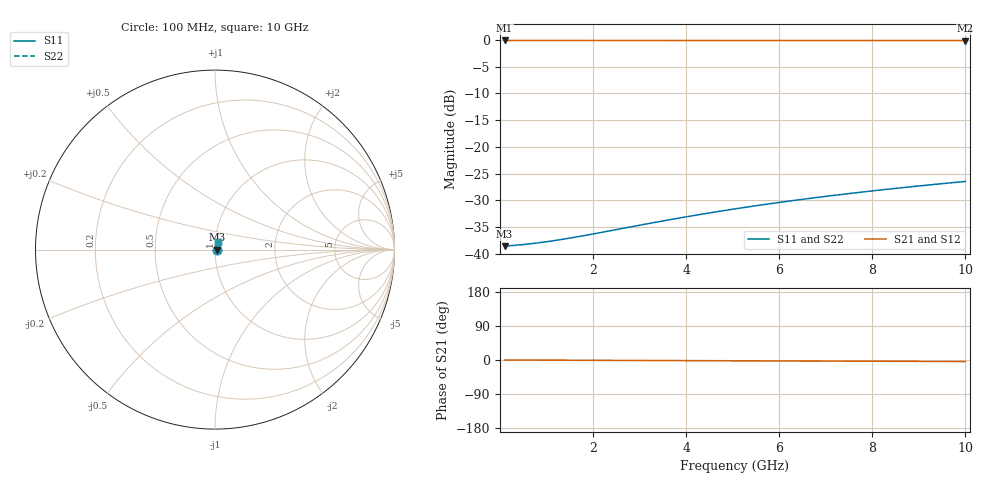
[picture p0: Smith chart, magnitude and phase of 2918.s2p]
# Hz S RI R 50.00
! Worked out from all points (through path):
!   100 points, 100 MHz to 10 GHz, reference 50 ohm
!   highest |S21| = -0.10 dB at 100 MHz (marker M1); lowest = -0.1 dB at 10 GHz (marker M2)
!   lowest |S11| = -38.5 dB at 100 MHz (marker M3), VSWR 1.02, Z = 51.2 + j0.0461 ohm
!   |S11| at or under -10 dB: start of sweep to end of sweep
!   |S22| runs from -38.5 to -26.5 dB; largest |S21 - S12| = 1e-13
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1e8  0.0118 0.000451  0.9882 -0.000713  0.9882 -0.000713  0.0118 0.000451
5e8  0.012 0.00225  0.988 -0.00356  0.988 -0.00356  0.012 0.00225
7e8  0.0121 0.00315  0.9879 -0.00499  0.9879 -0.00499  0.0121 0.00315
9e8  0.0122 0.00405  0.9878 -0.00641  0.9878 -0.00641  0.0122 0.00405
1.1e9  0.0122 0.00495  0.9878 -0.00784  0.9878 -0.00784  0.0122 0.00495
1.3e9  0.0123 0.00585  0.9877 -0.00926  0.9877 -0.00926  0.0123 0.00585
1.5e9  0.0123 0.00675  0.9877 -0.0107  0.9877 -0.0107  0.0123 0.00675
1.8e9  0.0124 0.0081  0.9876 -0.0128  0.9876 -0.0128  0.0124 0.0081
3.4e9  0.0129 0.0153  0.9871 -0.0242  0.9871 -0.0242  0.0129 0.0153
3.9e9  0.013 0.0175  0.9869 -0.0278  0.9869 -0.0278  0.013 0.0175
4.3e9  0.0132 0.0193  0.9868 -0.0306  0.9868 -0.0306  0.0132 0.0193
4.7e9  0.0133 0.0211  0.9866 -0.0334  0.9866 -0.0334  0.0133 0.0211
5.1e9  0.0135 0.0229  0.9864 -0.0363  0.9864 -0.0363  0.0135 0.0229
5.5e9  0.0136 0.0247  0.9863 -0.0391  0.9863 -0.0391  0.0136 0.0247
5.9e9  0.0138 0.0265  0.9861 -0.042  0.9861 -0.042  0.0138 0.0265
6.3e9  0.014 0.0283  0.9859 -0.0448  0.9859 -0.0448  0.014 0.0283
6.7e9  0.0142 0.0301  0.9857 -0.0476  0.9857 -0.0476  0.0142 0.0301
7.5e9  0.0146 0.0336  0.9852 -0.0533  0.9852 -0.0533  0.0146 0.0336
7.9e9  0.0148 0.0354  0.985 -0.0561  0.985 -0.0561  0.0148 0.0354
8.4e9  0.0151 0.0376  0.9847 -0.0597  0.9847 -0.0597  0.0151 0.0376
9.2e9  0.0156 0.0412  0.9841 -0.0653  0.9841 -0.0653  0.0156 0.0412
1e10  0.0161 0.0448  0.9835 -0.071  0.9835 -0.071  0.0161 0.0448
